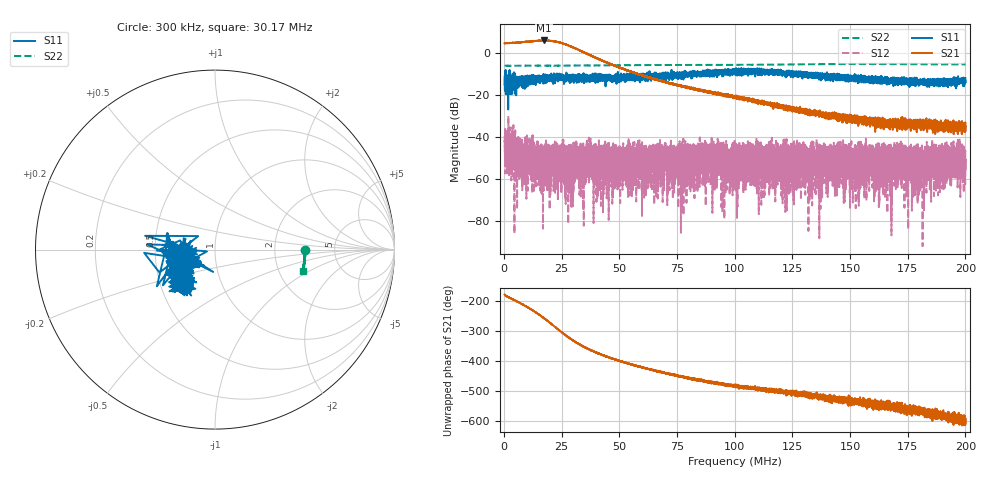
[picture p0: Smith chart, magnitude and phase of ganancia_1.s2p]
# Hz S DB R 50
! CMT, M5065, 19127446, 24.2.4/2
! Date: 11/8/2024 2:36:59 PM
! Data: Format (Calibration Info)
! Freq	S11:dB/Ang(F2)	S21:dB/Ang(F2)	S12:dB/Ang(F2)	S22:dB/Ang(F2)
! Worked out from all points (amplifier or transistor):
!   9000 points, 300 kHz to 200 MHz, reference 50 ohm
!   highest |S21| = 6.1 dB at 17.37 MHz (marker M1)
!   |S21| within 3 dB of that: start of sweep to 29.3 MHz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
!   unconditionally stable (mu >= 1): start of sweep to end of sweep
!   at 33.59 MHz: K = 111.37, MAG = 2.7 dB, |S12| = -51.3 dB
!   at 100.2 MHz: K = 990.09, MAG = -18.6 dB, |S12| = -49.5 dB
!   at 200 MHz: K = 10673.54, MAG = -33.3 dB, |S12| = -55.1 dB
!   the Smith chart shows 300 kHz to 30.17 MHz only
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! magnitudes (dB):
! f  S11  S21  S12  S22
! 300 kHz  -14.9  4.8  -42.1  -6.0
! 7.357 MHz  -15.2  5.2  -41.7  -6.0
! 11.75 MHz  -12.1  5.6  -46.5  -6.0
! 17.37 MHz  -10.1  6.1  -49.0  -6.0
! 24.84 MHz  -12.2  4.8  -44.4  -5.9
! 28.35 MHz  -10.3  3.5  -49.6  -5.9
! 30.97 MHz  -12.5  2.2  -50.7  -5.9
! 33.59 MHz  -10.8  1.0  -51.3  -5.9
! 66.87 MHz  -10.8  -12.8  -54.2  -5.7
! 83.07 MHz  -10.7  -17.2  -58.8  -5.6
! 85.87 MHz  -10.5  -18.2  -49.7  -5.6
! 100.2 MHz  -7.9  -20.8  -49.5  -5.6
! 133.4 MHz  -10.8  -28.8  -44.8  -5.3
! 146.9 MHz  -11.8  -30.6  -49.7  -5.2
! 148.8 MHz  -11.2  -30.8  -47.4  -5.2
! 153.1 MHz  -12.7  -30.6  -56.7  -5.2
! 155.1 MHz  -12.5  -30.6  -48.6  -5.2
! 166.7 MHz  -13.1  -33.8  -52.7  -5.2
! 172.1 MHz  -13.3  -32.8  -62.9  -5.3
! 181.2 MHz  -13.0  -35.2  -44.0  -5.3
! 195.8 MHz  -12.7  -35.3  -59.4  -5.4
! 200 MHz  -11.9  -35.1  -55.1  -5.4
